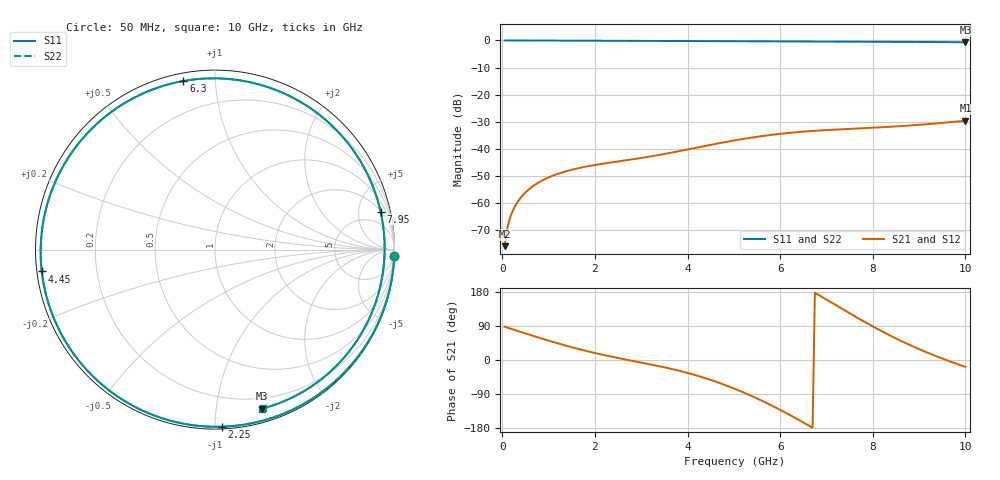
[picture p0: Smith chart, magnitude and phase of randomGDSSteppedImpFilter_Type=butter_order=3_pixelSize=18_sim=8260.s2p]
! freq	dB(S11)	phase(S11)	dB(S12)	phase(S12)
!  dB(S21)	phase(S21)	dB(S22)	phase(S22)
!S-par simulation data
#  GHz  S  DB  R 50
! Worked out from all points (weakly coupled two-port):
!   200 points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, 50 MHz to 10 GHz, reference 50 ohm
!   highest |S21| = -29.58 dB at 10 GHz (marker M1); lowest = -75.8 dB at 50 MHz (marker M2)
!   lowest |S11| = -0.7 dB at 10 GHz (marker M3), VSWR 25.35, Z = 5.49 - j66.6 ohm
!   |S11| at or under -10 dB: nowhere
!   |S22| runs from -0.7 to 0.0 dB; largest |S21 - S12| = 0
!   S11 on the Smith chart (normalised r, x): 50 MHz: 1, -56; 2.25 GHz: 0.01, -1.04; 4.45 GHz: 0.01, -0.06; 6.3 GHz: 0.04, +0.83; 7.95 GHz: 2.05, +8.35; 10 GHz: 0.11, -1.33
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0.05  -0.01 -2.0  -75.84 87.8  -75.84 87.8  -0.01 -2.0
0.1  -0.01 -4.0  -69.85 85.8  -69.85 85.8  -0.01 -4.0
0.2  -0.01 -8.0  -63.86 81.9  -63.86 81.9  -0.01 -8.0
0.35  -0.02 -14.0  -59.05 76.0  -59.05 76.0  -0.02 -14.0
0.5  -0.02 -20.0  -56.04 70.1  -56.04 70.1  -0.02 -20.0
1  -0.05 -39.7  -50.50 51.1  -50.50 51.1  -0.05 -39.7
1.75  -0.09 -68.7  -46.71 25.8  -46.71 25.8  -0.09 -68.7
2.25  -0.11 -87.7  -45.24 11.6  -45.24 11.6  -0.11 -87.7
2.8  -0.14 -108.5  -43.86 -2.0  -43.86 -2.0  -0.14 -108.5
3.4  -0.17 -131.2  -42.17 -16.6  -42.17 -16.6  -0.17 -131.2
3.95  -0.20 -152.6  -40.36 -32.5  -40.36 -32.5  -0.20 -152.6
4.45  -0.24 -172.8  -38.65 -50.6  -38.65 -50.6  -0.24 -172.7
5.05  -0.29 161.4  -36.74 -77.5  -36.74 -77.5  -0.29 161.5
5.65  -0.34 133.5  -35.17 -110.1  -35.17 -110.1  -0.34 133.6
6.3  -0.39 100.6  -33.91 -151.2  -33.91 -151.2  -0.39 100.9
6.7  -0.42 79.3  -33.36 -178.9  -33.36 -178.9  -0.42 79.6
7.05  -0.44 60.4  -32.99 155.9  -32.99 155.9  -0.44 60.8
7.4  -0.45 41.6  -32.68 130.6  -32.68 130.6  -0.45 41.9
7.95  -0.48 12.9  -32.23 92.0  -32.23 92.0  -0.48 13.3
8.35  -0.50 -6.7  -31.85 66.0  -31.85 66.0  -0.50 -6.3
9.2  -0.57 -43.9  -30.84 18.4  -30.84 18.4  -0.57 -43.5
10  -0.69 -73.5  -29.58 -18.1  -29.58 -18.1  -0.69 -73.3
